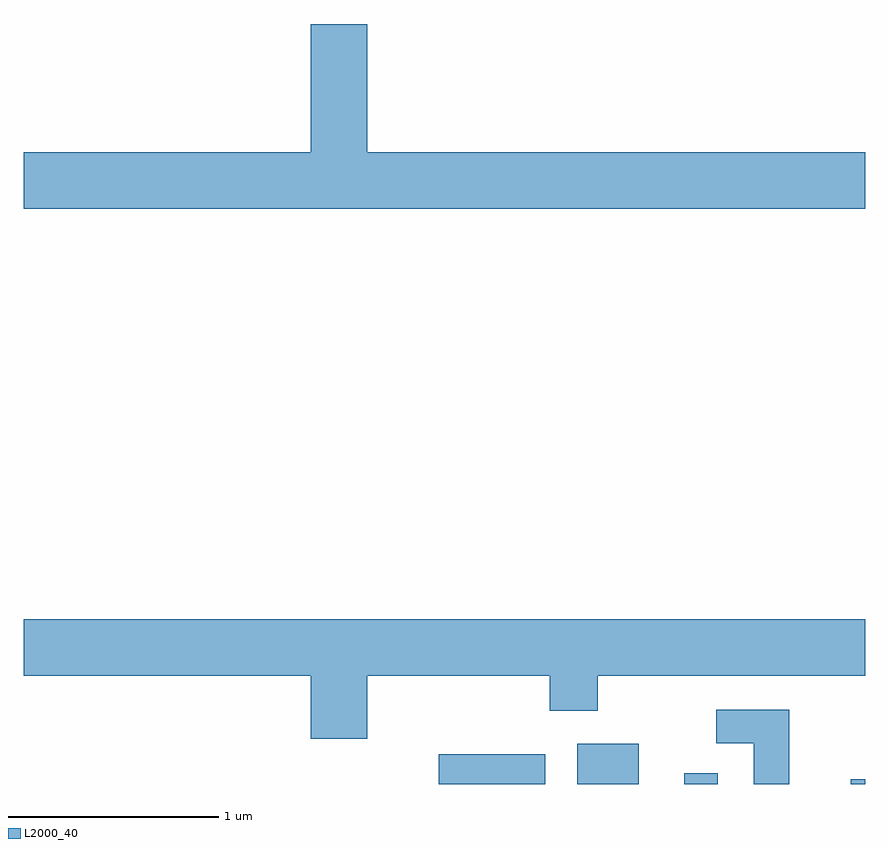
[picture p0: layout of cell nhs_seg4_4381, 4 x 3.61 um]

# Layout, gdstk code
import gdstk
lib = gdstk.Library(unit=1e-6, precision=1e-09)
def R(c, l, rs):  # rectangles x0, y0, x1, y1
    for r in rs: c.add(gdstk.rectangle(r[:2], r[2:], *l))
def P(c, l, *ps):  # polygons
    for p in ps: c.add(gdstk.Polygon(p, *l))
L2000_40 = (2000, 40)

nhs_seg4_4381 = lib.new_cell('nhs_seg4_4381')
R(nhs_seg4_4381, L2000_40, [(315.583,1311.982,316.089,1312.124), (316.241,1311.982,316.534,1312.174), (316.751,1311.982,316.909,1312.033), (317.541,1311.982,317.611,1312.004)])
P(nhs_seg4_4381, L2000_40, [(317.611,1314.984),(315.244,1314.984),(315.244,1315.594),(314.976,1315.594),(314.976,1314.984),(313.611,1314.984),(313.611,1314.716),(317.611,1314.716)],
  [(315.244,1312.496),(316.111,1312.496),(316.111,1312.331),(316.339,1312.331),(316.339,1312.496),(317.611,1312.496),(317.611,1312.764),(313.611,1312.764),(313.611,1312.496),(314.976,1312.496),(314.976,1312.196),(315.244,1312.196)],
  [(317.249,1312.334),(316.903,1312.334),(316.903,1312.176),(317.081,1312.176),(317.081,1311.982),(317.249,1311.982)])

lib.write_gds('nhs_seg4_4381.gds')
